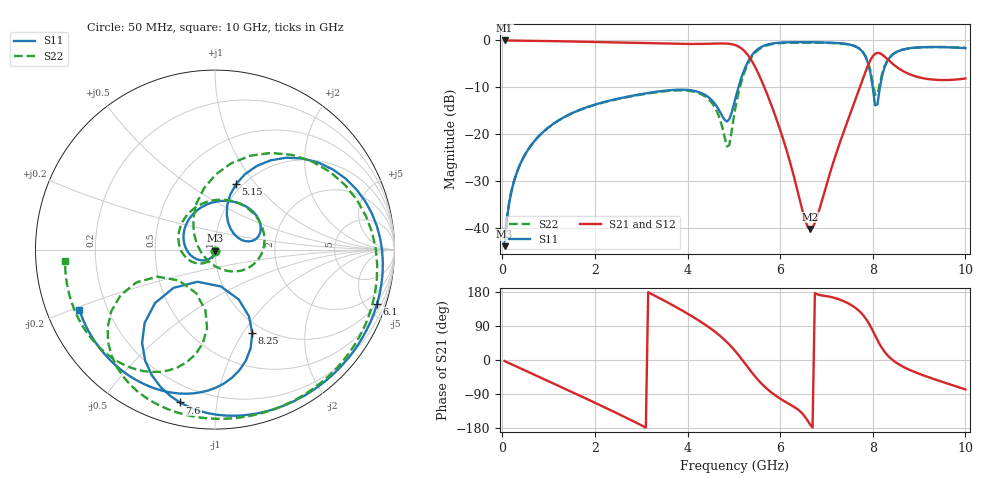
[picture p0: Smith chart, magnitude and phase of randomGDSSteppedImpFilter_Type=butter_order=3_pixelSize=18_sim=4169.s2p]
! freq	dB(S11)	phase(S11)	dB(S12)	phase(S12)
!  dB(S21)	phase(S21)	dB(S22)	phase(S22)
!S-par simulation data
#  GHz  S  DB  R 50
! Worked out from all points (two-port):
!   200 points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, 50 MHz to 10 GHz, reference 50 ohm
!   highest |S21| = -0.01 dB at 50 MHz (marker M1); lowest = -40.1 dB at 6.65 GHz (marker M2)
!   |S21| within 3 dB of the highest: start of sweep to 5.294 GHz; 8.035 GHz to 8.2 GHz (165.5 MHz wide, 2.04 % of centre)
!   lowest |S11| = -43.8 dB at 50 MHz (marker M3), VSWR 1.01, Z = 50 - j0.645 ohm
!   |S11| at or under -10 dB: start of sweep to 5.099 GHz; 7.999 GHz to 8.154 GHz (155.3 MHz wide, 1.92 % of centre)
!   |S22| runs from -43.8 to -0.5 dB; largest |S21 - S12| = 0
!   S11 on the Smith chart (normalised r, x): 50 MHz: 1.00, -0.01; 5.15 GHz: 0.94, +0.80; 6.1 GHz: 0.92, -6.00; 7.6 GHz: 0.11, -0.79; 8.25 GHz: 0.88, -1.10; 10 GHz: 0.10, -0.21
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0.05  -43.80 -90.2  -0.01 -2.9  -0.01 -2.9  -43.80 -89.2
0.2  -32.00 -102.2  -0.02 -11.3  -0.02 -11.3  -31.98 -98.9
0.5  -24.17 -122.4  -0.06 -28.1  -0.06 -28.1  -24.16 -114.3
1.75  -14.49 158.6  -0.28 -98.5  -0.28 -98.5  -14.53 -177.6
2.65  -12.08 106.5  -0.47 -150.8  -0.47 -150.8  -12.17 129.9
3.4  -10.83 67.2  -0.64 162.9  -0.64 162.9  -10.95 77.1
4.4  -11.73 18.2  -0.72 91.6  -0.72 91.6  -12.07 -11.6
4.85  -17.26 39.7  -0.68 47.3  -0.68 47.3  -22.57 -120.2
5.05  -11.76 74.6  -1.07 20.7  -1.07 20.7  -13.49 124.8
5.15  -8.33 72.2  -1.60 5.4  -1.60 5.4  -9.21 100.3
5.4  -3.04 46.1  -4.58 -34.7  -4.58 -34.7  -3.35 50.9
5.65  -1.12 17.8  -9.76 -68.7  -9.76 -68.7  -1.29 12.5
6.1  -0.42 -18.5  -22.13 -109.4  -22.13 -109.4  -0.53 -33.2
6.65  -0.39 -49.7  -40.14 -170.5  -40.14 -170.5  -0.46 -70.1
6.7  -0.39 -52.3  -39.82 -178.3  -39.82 -178.3  -0.46 -73.0
7.6  -1.17 -102.9  -13.26 139.8  -13.26 139.8  -1.19 -126.1
7.85  -3.60 -127.9  -6.48 109.1  -6.48 109.1  -3.46 -149.3
8.05  -13.80 -118.7  -2.85 64.9  -2.85 64.9  -11.55 -139.5
8.25  -5.84 -66.0  -3.40 22.6  -3.40 22.6  -5.61 -97.4
8.35  -3.85 -74.5  -4.30 8.6  -4.30 8.6  -3.78 -104.1
8.95  -1.52 -110.9  -7.72 -34.0  -7.72 -34.0  -1.52 -137.2
10  -1.65 -156.0  -8.10 -77.6  -8.10 -77.6  -1.54 -175.7
